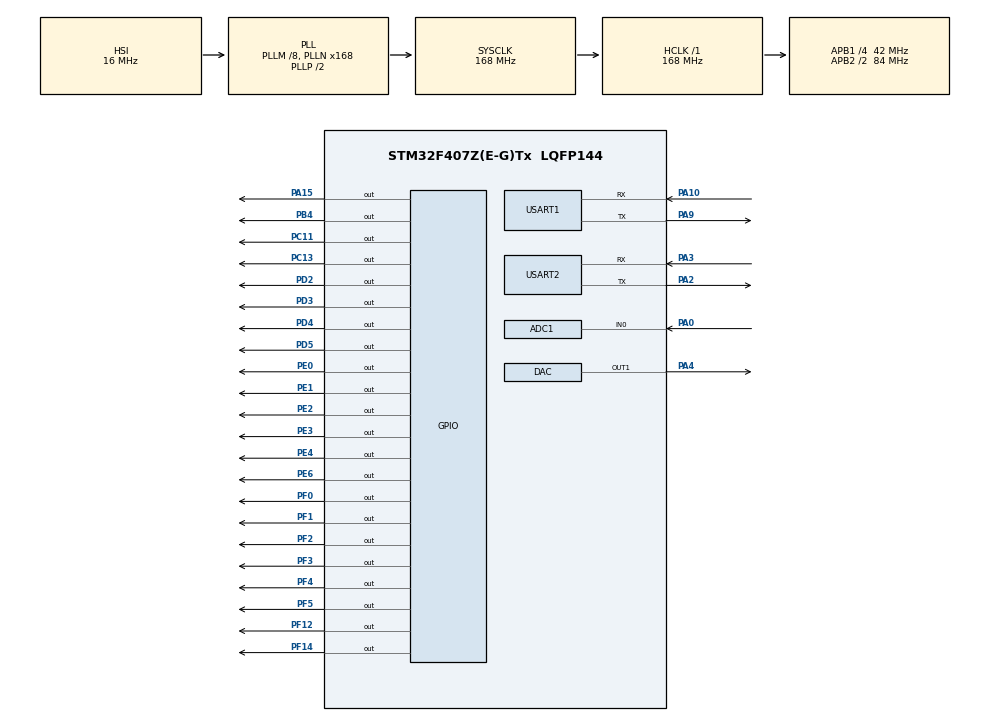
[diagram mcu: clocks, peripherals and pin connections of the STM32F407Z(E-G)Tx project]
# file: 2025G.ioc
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ADC1.Channel-1\#ChannelRegularConversion=ADC_CHANNEL_0
ADC1.ContinuousConvMode=DISABLE
ADC1.DMAContinuousRequests=DISABLE
ADC1.ExternalTrigConv=ADC_EXTERNALTRIGCONV_T2_TRGO
ADC1.NbrOfConversionFlag=1
ADC1.Rank-1\#ChannelRegularConversion=1
ADC1.SamplingTime-1\#ChannelRegularConversion=ADC_SAMPLETIME_28CYCLES
ADC1.master=1
DAC.DAC_OutputBuffer=DAC_OUTPUTBUFFER_DISABLE
DAC.DAC_Trigger=DAC_TRIGGER_T2_TRGO
Dma.ADC1.1.Direction=DMA_PERIPH_TO_MEMORY
Dma.ADC1.1.FIFOMode=DMA_FIFOMODE_DISABLE
Dma.ADC1.1.Instance=DMA2_Stream0
Dma.ADC1.1.MemDataAlignment=DMA_MDATAALIGN_HALFWORD
Dma.ADC1.1.MemInc=DMA_MINC_ENABLE
Dma.ADC1.1.Mode=DMA_NORMAL
Dma.ADC1.1.PeriphDataAlignment=DMA_PDATAALIGN_HALFWORD
Dma.ADC1.1.PeriphInc=DMA_PINC_DISABLE
Dma.ADC1.1.Priority=DMA_PRIORITY_LOW
Dma.DAC1.0.Direction=DMA_MEMORY_TO_PERIPH
Dma.DAC1.0.FIFOMode=DMA_FIFOMODE_DISABLE
Dma.DAC1.0.Instance=DMA1_Stream5
Dma.DAC1.0.MemDataAlignment=DMA_MDATAALIGN_HALFWORD
Dma.DAC1.0.MemInc=DMA_MINC_ENABLE
Dma.DAC1.0.Mode=DMA_CIRCULAR
Dma.DAC1.0.PeriphDataAlignment=DMA_PDATAALIGN_HALFWORD
Dma.DAC1.0.PeriphInc=DMA_PINC_DISABLE
Dma.DAC1.0.Priority=DMA_PRIORITY_LOW
Dma.Request0=DAC1
Dma.Request1=ADC1
Mcu.Family=STM32F4
Mcu.Name=STM32F407Z(E-G)Tx
Mcu.Package=LQFP144
NVIC.DMA1_Stream5_IRQn=true\:0\:0\:false\:false\:true\:false\:true\:true
NVIC.DMA2_Stream0_IRQn=true\:0\:0\:false\:false\:true\:false\:true\:true
NVIC.PriorityGroup=NVIC_PRIORITYGROUP_4
NVIC.TIM2_IRQn=true\:0\:0\:false\:false\:true\:true\:true\:true
NVIC.TIM4_IRQn=true\:0\:0\:false\:false\:true\:true\:true\:true
NVIC.USART1_IRQn=true\:0\:0\:false\:false\:true\:true\:true\:true
NVIC.USART2_IRQn=true\:0\:0\:false\:false\:true\:true\:true\:true
PA0-WKUP.Signal=ADCx_IN0
PA10.Mode=Asynchronous
PA10.Signal=USART1_RX
PA13.Mode=Serial_Wire
PA13.Signal=SYS_JTMS-SWDIO
PA14.Mode=Serial_Wire
PA14.Signal=SYS_JTCK-SWCLK
PA15.GPIO_Speed=GPIO_SPEED_FREQ_HIGH
PA15.PinState=GPIO_PIN_RESET
PA15.Signal=GPIO_Output
PA2.Mode=Asynchronous
PA2.Signal=USART2_TX
PA3.Mode=Asynchronous
PA3.Signal=USART2_RX
PA4.Signal=COMP_DAC1_group
PA9.Mode=Asynchronous
PA9.Signal=USART1_TX
PB4.Signal=GPIO_Output
PC11.GPIO_Speed=GPIO_SPEED_FREQ_HIGH
PC11.Signal=GPIO_Output
PC13-ANTI_TAMP.Signal=GPIO_Output
PD2.GPIO_Speed=GPIO_SPEED_FREQ_HIGH
PD2.Signal=GPIO_Output
PD3.GPIO_Speed=GPIO_SPEED_FREQ_HIGH
PD3.Signal=GPIO_Output
PD4.GPIO_Speed=GPIO_SPEED_FREQ_HIGH
PD4.Signal=GPIO_Output
PD4.Stacked=true
PD5.GPIO_Speed=GPIO_SPEED_FREQ_HIGH
PD5.Signal=GPIO_Output
PE0.Signal=GPIO_Output
PE1.Signal=GPIO_Output
PE2.Signal=GPIO_Output
PE3.Signal=GPIO_Output
PE4.Signal=GPIO_Output
PE6.Signal=GPIO_Output
PF0.Signal=GPIO_Output
PF1.Signal=GPIO_Output
PF12.GPIO_PuPd=GPIO_PULLUP
PF12.PinState=GPIO_PIN_SET
PF12.Signal=GPIO_Output
PF14.GPIO_PuPd=GPIO_PULLUP
PF14.PinState=GPIO_PIN_SET
PF14.Signal=GPIO_Output
PF2.Signal=GPIO_Output
PF3.Signal=GPIO_Output
PF4.Signal=GPIO_Output
PF5.PinState=GPIO_PIN_SET
PF5.Signal=GPIO_Output
PH0-OSC_IN.Mode=HSE-External-Oscillator
PH0-OSC_IN.Signal=RCC_OSC_IN
PH1-OSC_OUT.Mode=HSE-External-Oscillator
PH1-OSC_OUT.Signal=RCC_OSC_OUT
ProjectManager.HeapSize=0x200
ProjectManager.StackSize=0x400
ProjectManager.TargetToolchain=MDK-ARM V5.32
RCC.48MHZClocksFreq_Value=84000000
RCC.AHBFreq_Value=168000000
RCC.APB1CLKDivider=RCC_HCLK_DIV4
RCC.APB1Freq_Value=42000000
RCC.APB1TimFreq_Value=84000000
RCC.APB2CLKDivider=RCC_HCLK_DIV2
RCC.APB2Freq_Value=84000000
RCC.APB2TimFreq_Value=168000000
RCC.CortexFreq_Value=168000000
RCC.HCLKFreq_Value=168000000
RCC.HSE_VALUE=25000000
RCC.HSI_VALUE=16000000
RCC.LSE_VALUE=32768
RCC.PLLM=8
RCC.PLLN=168
RCC.SYSCLKFreq_VALUE=168000000
RCC.SYSCLKSource=RCC_SYSCLKSOURCE_PLLCLK
RCC.VCOOutputFreq_Value=336000000
SH.ADCx_IN0.0=ADC1_IN0,IN0
SH.COMP_DAC1_group.0=DAC_OUT1,DAC_OUT1
TIM2.AutoReloadPreload=TIM_AUTORELOAD_PRELOAD_ENABLE
TIM2.Period=336-1
TIM2.TIM_MasterOutputTrigger=TIM_TRGO_UPDATE
TIM3.AutoReloadPreload=TIM_AUTORELOAD_PRELOAD_ENABLE
TIM3.Period=82-1
TIM3.TIM_MasterOutputTrigger=TIM_TRGO_UPDATE
TIM4.Period=999
TIM4.Prescaler=8399
USART1.VirtualMode=VM_ASYNC
USART2.VirtualMode=VM_ASYNC
VP_TIM2_VS_ClockSourceINT.Mode=Internal
VP_TIM3_VS_ClockSourceINT.Mode=Internal
VP_TIM4_VS_ClockSourceINT.Mode=Internal
board=custom

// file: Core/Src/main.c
/* USER CODE BEGIN Header */
/**
  ******************************************************************************
  * @file           : main.c
  * @brief          : Main program body
  ******************************************************************************
  * @attention
  *
  * Copyright (c) 2025 STMicroelectronics.
  * All rights reserved.
  *
  * This software is licensed under terms that can be found in the LICENSE file
  * in the root directory of this software component.
  * If no LICENSE file comes with this software, it is provided AS-IS.
  *
  ******************************************************************************
  */
/* USER CODE END Header */
#include "main.h"
#include "adc.h"
#include "dac.h"
#include "dma.h"
#include "tim.h"
#include "usart.h"
#include "gpio.h"

/* USER CODE BEGIN Includes */
#include "AD9959.h"
#include "G2B.h"
#include "stdio.h"
#include "sweep.h"
#include "interact.h"
#include "string.h"
#include "math.h"
#include "ads8688.h"
#include "DB.h"
#include "arm_math.h"
#include "arm_const_structs.h"
#include "stdio.h"
/* USER CODE END Includes */

/* USER CODE BEGIN PTD */
#define RX_BUF_SIZE 64
#define FFT_LENGTH 1024
uint8_t rx1_buf[RX_BUF_SIZE];
uint8_t rx1_tmp;
uint8_t rx1_index = 0;

uint8_t rx2_buf[RX_BUF_SIZE];
uint8_t rx2_tmp;
uint8_t rx2_index = 0;
/* USER CODE END PTD */

/* USER CODE BEGIN PM */
__IO uint8_t AdcConvEnd = 0;
uint16_t adcBuff[FFT_LENGTH];

float fft_inputbuf[FFT_LENGTH * 2];
float fft_outputbuf[FFT_LENGTH];
/* USER CODE END PM */

/* USER CODE BEGIN PV */
uint16_t fre=0;
uint16_t flag=0;
uint16_t fremax=0;
uint16_t fremin=0;
uint16_t mode=0;
uint16_t count=0;
float last_result;
extern int _estack; // 定义在链接脚本中
float adc_values[FFT_LENGTH];
extern int32_t result;
extern int mod;
int s1=0;
int s2=0;
int i=0;
volatile uint16_t sensor_data = 0;
float vol=1;
float freq=0;
float amp=0;
float frequency;
float ampli;
char  channel;
extern const float data[30][11];
float att[998];
//////////////////////////////////////////////////////
uint16_t adc_buff[1024];//存放ADC采集的数据

/* USER CODE END PV */

void SystemClock_Config(void);
/* USER CODE BEGIN PFP */
void AD9959_sweep(uint32_t fre,uint32_t mode,uint32_t fremax,uint32_t fremin,uint32_t speed);
float Calculate_Frequency(uint16_t *adc_data, uint32_t fftsize, float sampling_freq);
double normalize(double value);
/* USER CODE END PFP */

int main(void)
{

  /* USER CODE BEGIN 1 */

	result=0;
	float aimval;
	float sampling_freq = 500000;
  /* USER CODE END 1 */

  /* MCU Configuration--------------------------------------------------------*/

  /* Reset of all peripherals, Initializes the Flash interface and the Systick. */
  HAL_Init();

  /* Configure the system clock */
  SystemClock_Config();

  /* Initialize all configured peripherals */
  MX_GPIO_Init();
  MX_DMA_Init();
  MX_ADC1_Init();
  MX_TIM3_Init();
  MX_USART1_UART_Init();
  MX_USART2_UART_Init();
  MX_TIM2_Init();
  MX_DAC_Init();
  MX_TIM4_Init();
  /* USER CODE BEGIN 2 */
	HAL_ADC_Start(&hadc1);
	HAL_UART_Receive_IT(&huart1, &rx1_tmp, 1);
	HAL_UART_Receive_IT(&huart2, &rx2_tmp, 1);
	HAL_TIM_Base_Start(&htim3);   //开启定时器3
	HAL_TIM_Base_Start(&htim2);   //开启定时器3
	AD9959_Init();								//初始化控制AD9959需要用到的IO口,及寄存器							// 添加10ms延时确保初始化完成
	ADS8688_IO_Init();
	ADS8688_Init(0xFF);
	Set_CH_Range(CHIR_1, ADS8688_IR_N2_5V);
	Set_CH_Range(CHIR_2, ADS8688_IR_N2_5V);
	HAL_ADC_Start_DMA(&hadc1, (uint32_t *)adcBuff, FFT_LENGTH);
HAL_ADC_Start_DMA(&hadc1, (uint32_t *)adcBuff, FFT_LENGTH);
HAL_TIM_Base_Start(&htim3);

  /* USER CODE END 2 */

  /* Infinite loop */
  /* USER CODE BEGIN WHILE */
  while (1)
{
if(mod==1)
{
if(result==-42)
{
		HAL_GPIO_WritePin(GPIOF, GPIO_PIN_14, GPIO_PIN_SET);//RE1
	HAL_GPIO_WritePin(GPIOF, GPIO_PIN_12, GPIO_PIN_SET);//RE3
}
////////////////////////////////////
if(result==-43)
{
		HAL_GPIO_WritePin(GPIOF, GPIO_PIN_14, GPIO_PIN_RESET);//RE1
	HAL_GPIO_WritePin(GPIOF, GPIO_PIN_12, GPIO_PIN_RESET);//RE3
}
////////////////////////////////////
if(result==-1)
{
AD9959_Init();
freq-=100;
printf("freq.txt=\"%.2fHz\"\xff\xff\xff",freq);
printf("vol.txt=\"%.2fmV\"\xff\xff\xff",amp);
printf("result.txt=\"%d\"\xff\xff\xff",result);
result=0;
}
////////////////////////////////////
if(result==-2)
{
AD9959_Init();
freq+=100;
printf("freq.txt=\"%.2fHz\"\xff\xff\xff",freq);
printf("vol.txt=\"%.2fmV\"\xff\xff\xff",amp);
printf("result.txt=\"%d\"\xff\xff\xff",result);
result=0;
}
////////////////////////////////////
if(result==-3)
{
AD9959_Init();
amp+=100;
aimval=amp;
printf("freq.txt=\"%.2fHz\"\xff\xff\xff",freq);
printf("vol.txt=\"%.2fmV\"\xff\xff\xff",amp);
printf("result.txt=\"%d\"\xff\xff\xff",result);
result=0;
}
////////////////////////////////////
if(result==-4)
{
AD9959_Init();
amp-=100;
aimval=amp;
printf("freq.txt=\"%.2fHz\"\xff\xff\xff",freq);
printf("vol.txt=\"%.2fmV\"\xff\xff\xff",amp);
printf("result.txt=\"%d\"\xff\xff\xff",result);
result=0;
}
////////////////////////////////////
if(result>0)
{
AD9959_Init();
last_result=result;
IO_Update();
result=0;
printf("freq.txt=\"%.2fHz\"\xff\xff\xff",freq);
printf("vol.txt=\"%.2fmV\"\xff\xff\xff",amp);
printf("result.txt=\"%d\"\xff\xff\xff",result);
IO_Update();
}
////////////////////////////////////
    // 频率扫描示例（取消注释使用）
if(result==-6)
{
	AD9959_Set_Amp(CH0,235 / 521.5 * 1024);IO_Update();
	AD9959_Set_Amp(CH1,240 / 521.5 * 1024);IO_Update();
	printf("result.txt=\"%d\n\"\xff\xff\xff",result);
	if(i<=998)
{
AD9959_sweep
	(
1000,    // 起始频率
3,          //1:正向  2:降频  3：反复
200600,   // 最大频率
1000,    // 最小频率
200		// 步进速度
	);
		 MAN_CH_Mode(MAN_CH_0);
		 adc_values[0] = Get_MAN_CH_Mode_Data();  //获取此次循环中的adc值
		 float voltage_CH1 = (adc_values[0] - 32768) * (1.0f / 3196.0f);
		 float V1=voltage_CH1*0.7396;
		 printf("V1.txt=\"%.2f\"\xff\xff\xff",V1 );
		 printf("VOL1.txt=\"%.2f\"\xff\xff\xff",voltage_CH1 );
		 MAN_CH_Mode(MAN_CH_1);
		 adc_values[0] = Get_MAN_CH_Mode_Data();
		 float voltage_CH2 = (adc_values[0] - 32768) * (1.0f / 3196.0f);
		 float V2=voltage_CH2*0.7494;
		 printf("V2.txt=\"%.2f\"\xff\xff\xff",V2 );
		 printf("VOL2.txt=\"%.2f\"\xff\xff\xff",voltage_CH2 );
		 float diff=V1/V2;
		 printf("att.txt=\"%.2f\"\xff\xff\xff",20 * log10(diff));
		 att[i]=20 * log10(diff);
}
printf("i.txt=\"%d\"\xff\xff\xff",i);
if(i<=998)
i++;
else
{
detect_filter_type(att);
result=0;
}
HAL_Delay(1);
}
if(result==-9)
{
AD9959_Init();
freq=1000;
amp=91.74;
AD9959_Set_Fre(CH0,freq);
AD9959_Set_Amp(CH0,amp/ 521.5 * 1024);
IO_Update();
result=0;
printf("freq.txt=\"%.2fHz\"\xff\xff\xff",freq);
printf("vol.txt=\"%.2fmV\"\xff\xff\xff",amp);
printf("result.txt=\"%d\"\xff\xff\xff",result);
}
if(result==-8)//(4)查找表
{
AD9959_Init();
aimval=amp;
getValue(freq, amp/1000,&vol);
amp=vol*1000;
printf("aim.txt=\"%.4fmV\"\xff\xff\xff",amp);
printf("vol.txt=\"%.2fV\"\xff\xff\xff",aimval/1000);
printf("freq.txt=\"%.2fHz\"\xff\xff\xff",freq);
printf("result.txt=\"%d\"\xff\xff\xff",result);
IO_Update();
result=0;
}
if(result==-14)
{
freq=last_result;
printf("freq.txt=\"%.2fHz\"\xff\xff\xff",freq);
result=0;
}
if(result==-13)
{
amp=last_result;
printf("vol.txt=\"%.2fmV\"\xff\xff\xff",amp);
result=0;
}
if(result==-11)
{
i=0;
AD9959_Set_Fre(CH1,freq+1000);
AD9959_Set_Fre(CH0,freq);
AD9959_Set_Amp(CH1,amp / 521.5 * 1024*0.93);
AD9959_Set_Amp(CH0,amp / 521.5 * 1024*0.93);
IO_Update();
HAL_Delay(40);
//AD9959_Set_Amp(CH1,amp / 521.5 * 1024/2);IO_Update();
amp=aimval;
printf("result.txt=\"%d\"\xff\xff\xff",result);
result=0;
}
if(result==-8688)//进行ads8688采样
{
    // 打印原始值
		 MAN_CH_Mode(MAN_CH_0);
		 adc_values[0] = Get_MAN_CH_Mode_Data();
		 float voltage_CH1 = (adc_values[0] - 32768) * (1.0f / 3196.0f);
		 float V1=voltage_CH1*0.7396;
		 printf("V1.txt=\"%.2f\"\xff\xff\xff",V1 );
		 printf("VOL1.txt=\"%.2f\"\xff\xff\xff",voltage_CH1 );
		 MAN_CH_Mode(MAN_CH_1);
		 adc_values[0] = Get_MAN_CH_Mode_Data();
		 float voltage_CH2 = (adc_values[0] - 32768) * (1.0f / 3196.0f);
		 float V2=voltage_CH2*0.7494;
		 printf("V2.txt=\"%.2f\"\xff\xff\xff",V2 );
		 printf("VOL2.txt=\"%.2f\"\xff\xff\xff",voltage_CH2 );
		 float diff=V1/V2;
		 printf("att.txt=\"%.2f\"\xff\xff\xff",20 * log10(diff ));
		 result=0;
}
if(result==-10)
{
printf("result.txt=\"%d\"\xff\xff\xff",result);
AD9959_Init();
result=0;
}
//if(result==-19)//freq
//{
//HAL_TIM_Base_Start(&htim3);
//uint16_t adc_buff[200];
//HAL_ADC_Start_DMA(&hadc1, (uint32_t *)adcBuff,FFT_LENGTH);
//while (!AdcConvEnd)       //等待转换完毕
//	;
//for (int i = 0; i < FFT_LENGTH; i++)
//{
//    fft_inputbuf[i * 2] = adcBuff[i] * 3.3 / 4096;//实部赋值，* 3.3 / 4096是为了将ADC采集到的值转换成实际电压
//    fft_inputbuf[i * 2 + 1] = 0;//虚部赋值，固定为0.
//}
//arm_cfft_f32(&arm_cfft_sR_f32_len1024, fft_inputbuf, 0, 1);
//arm_cmplx_mag_f32(fft_inputbuf, fft_outputbuf, FFT_LENGTH);
//fft_outputbuf[0] /= 1024;
//for (int i = 1; i < FFT_LENGTH; i++)//输出各次谐波幅值
//{
//    fft_outputbuf[i] /= 512;
//}
//float frequency = Calculate_Frequency(adcBuff, FFT_LENGTH, sampling_freq);
//float resfre=normalize(frequency/2000);
//printf("Measured Frequency: %.2f kHz\r\n", (frequency/2000));
//printf("resfre.txt=\"%.2fkhz\"\xff\xff\xff",(float)resfre);
//printf("resolved Frequency: %.2f\r\n", resfre);
//int n = (resfre*1000 - 1000) / 200;
//HAL_TIM_Base_Start(&htim2);//开启定时器2
//float V=3.3*fabs(att[n]/(-40)-1)/4095;
//const uint16_t Sine12bit[1]={V};
//HAL_DAC_Start_DMA(&hdac,DAC_CHANNEL_1,(uint32_t*)Sine12bit,1,DAC_ALIGN_12B_R);//开启输出
//HAL_TIM_Base_Stop(&htim3);
//result=0;
//}

}
}
    /* USER CODE END WHILE */

}

void SystemClock_Config(void)
{
  RCC_OscInitTypeDef RCC_OscInitStruct = {0};
  RCC_ClkInitTypeDef RCC_ClkInitStruct = {0};

  /** Configure the main internal regulator output voltage
  */
  __HAL_RCC_PWR_CLK_ENABLE();
  __HAL_PWR_VOLTAGESCALING_CONFIG(PWR_REGULATOR_VOLTAGE_SCALE1);

  /** Initializes the RCC Oscillators according to the specified parameters
  * in the RCC_OscInitTypeDef structure.
  */
  RCC_OscInitStruct.OscillatorType = RCC_OSCILLATORTYPE_HSI;
  RCC_OscInitStruct.HSIState = RCC_HSI_ON;
  RCC_OscInitStruct.HSICalibrationValue = RCC_HSICALIBRATION_DEFAULT;
  RCC_OscInitStruct.PLL.PLLState = RCC_PLL_ON;
  RCC_OscInitStruct.PLL.PLLSource = RCC_PLLSOURCE_HSI;
  RCC_OscInitStruct.PLL.PLLM = 8;
  RCC_OscInitStruct.PLL.PLLN = 168;
  RCC_OscInitStruct.PLL.PLLP = RCC_PLLP_DIV2;
  RCC_OscInitStruct.PLL.PLLQ = 4;
  if (HAL_RCC_OscConfig(&RCC_OscInitStruct) != HAL_OK)
  {
    Error_Handler();
  }

  /** Initializes the CPU, AHB and APB buses clocks
  */
  RCC_ClkInitStruct.ClockType = RCC_CLOCKTYPE_HCLK|RCC_CLOCKTYPE_SYSCLK
                              |RCC_CLOCKTYPE_PCLK1|RCC_CLOCKTYPE_PCLK2;
  RCC_ClkInitStruct.SYSCLKSource = RCC_SYSCLKSOURCE_PLLCLK;
  RCC_ClkInitStruct.AHBCLKDivider = RCC_SYSCLK_DIV1;
  RCC_ClkInitStruct.APB1CLKDivider = RCC_HCLK_DIV4;
  RCC_ClkInitStruct.APB2CLKDivider = RCC_HCLK_DIV2;

  if (HAL_RCC_ClockConfig(&RCC_ClkInitStruct, FLASH_LATENCY_5) != HAL_OK)
  {
    Error_Handler();
  }
}

/* USER CODE BEGIN 4 */

void AD9959_sweep(uint32_t fre,uint32_t mode,uint32_t fremax,uint32_t fremin,uint32_t speed)
{

	if(mode==1)
	{
		fre=fremax+count*speed;
		count--;
			AD9959_Set_Fre(CH0,fre);
		IO_Update();
	}
	else if(mode==2)
	{
		fre=fremin+count*speed;
		count++;
			AD9959_Set_Fre(CH0,fre);
		IO_Update();
	}
else if (mode == 3)
{
    // 1. 先计算新的 fre
    if (flag == 0)
		{
        fre = fremin + count * speed;  // 上升扫描
    }
		else
		{
        fre = fremax - count * speed;  // 下降扫描（从 fremax 开始减）
    }

    // 2. 检查边界，更新 flag
    if (fre >= fremax)
		{  // 超过上限 → 改为下降扫描
        flag = 1;
        fre = fremax;    // 防止超出
        count = 0;       // 重置 count
    }
		else if (fre <= fremin)
		{  // 低于下限 → 改为上升扫描
        flag = 0;
        fre = fremin;    // 防止低于最小值
        count = 0;       // 重置 count
    }
		count++;
    AD9959_Set_Fre(CH1,fre);//1K接未知电路
		AD9959_Set_Fre(CH0,fre+1000);
    IO_Update();
    // 打印原始值
		float voltage_CH1 = (adc_values[0] - 32768) * (1.0f / 3196.0f);
		MAN_CH_Mode(MAN_CH_0);
		adc_values[0] = Get_MAN_CH_Mode_Data();
    printf("DB1.txt=\"%.2f\"\xff\xff\xff",20 * log10(100*voltage_CH1 ));
		MAN_CH_Mode(MAN_CH_0);
		adc_values[0] = Get_MAN_CH_Mode_Data();
    printf("DB1.txt=\"%.2f\"\xff\xff\xff",20 * log10(100*voltage_CH1 ));
}

}
////////////////////////////////////////////////////////
float Calculate_Frequency(uint16_t *adc_data, uint32_t fftsize, float sampling_freq)
	{

    // 1. 准备FFT输入数据
	for (int i = 0; i < FFT_LENGTH; i++)
{
fft_inputbuf[i * 2] = adcBuff[i] * 3.3 / 4096;//实部赋值，* 3.3 / 4096是为了将ADC采集到的值转换成实际电压
fft_inputbuf[i * 2 + 1] = 0;//虚部赋值，固定为0.
}
fft_outputbuf[0] /= 1024;
for (int i = 1; i < FFT_LENGTH; i++)//输出各次谐波幅值
{
fft_outputbuf[i] /= 512;
}
for (uint32_t i = 0; i < fftsize; i++)
	{
 fft_inputbuf[i * 2] = (float)adc_data[i] * 3.3f / 4096.0f;
fft_inputbuf[i * 2 + 1] = 0.0f;
    }
    // 2. 执行FFT计算
    arm_cfft_f32(&arm_cfft_sR_f32_len1024, fft_inputbuf, 0, 1);
    // 3. 计算幅度谱
    arm_cmplx_mag_f32(fft_inputbuf, fft_outputbuf, fftsize);

    // 4. 寻找基波频率（最大幅值对应的频率）
    float max_magnitude = 0.0f;
    uint32_t max_idx = 0;
    for (uint32_t i = 1; i < fftsize / 2; i++)
	{
if (fft_outputbuf[i] > max_magnitude)
	{
    max_magnitude = fft_outputbuf[i];
    max_idx = i;
  }
  }
    // 5. 使用三点插值法提高频率精度
    float y1 = fft_outputbuf[max_idx - 1];
    float y2 = fft_outputbuf[max_idx];
    float y3 = fft_outputbuf[max_idx + 1];
    // 抛物线插值公式
    float delta = 0.5f * (y3 - y1) / (2.0f * y2 - y1 - y3);
    float interpolated_idx = (float)max_idx + delta;
    // 6. 计算实际频率
    float frequency = interpolated_idx * (sampling_freq / fftsize);
    // 7. 保留小数点后两位
    return frequency * 100.0f / 100.0f;
}

double normalize(double value) {
    // 核心算法：四舍五入到最近的0.2倍数
    return round(value * 5.0) * 0.2;
}

/* USER CODE END 4 */

void Error_Handler(void)
{
  __disable_irq();
  while (1)
  {
  }
}
